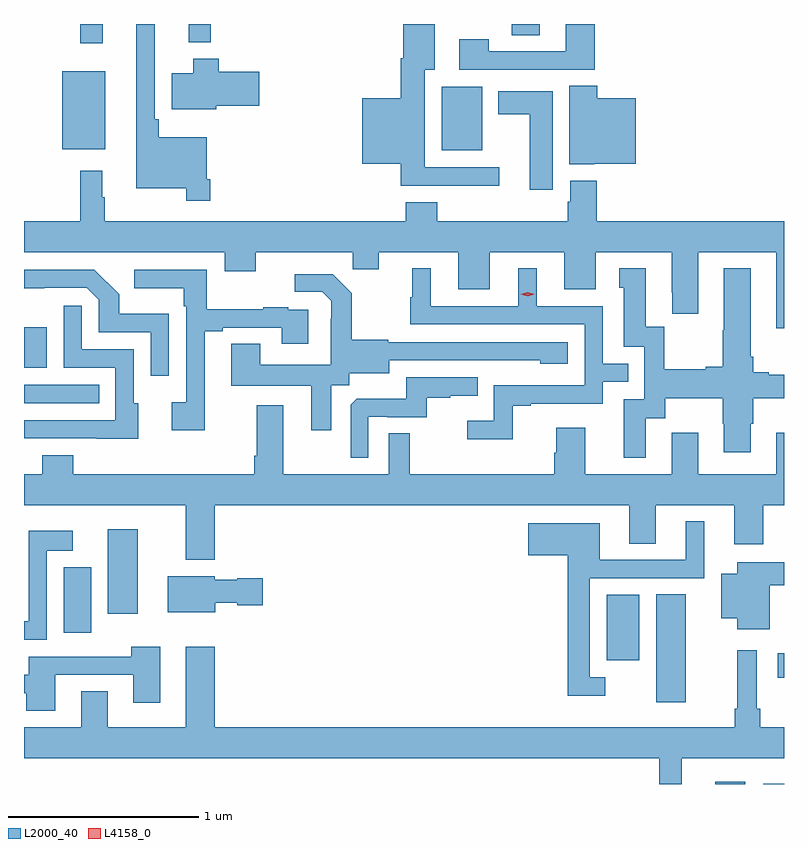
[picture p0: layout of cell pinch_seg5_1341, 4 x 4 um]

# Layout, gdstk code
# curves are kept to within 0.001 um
import gdstk
lib = gdstk.Library(unit=1e-6, precision=1e-09)
def R(c, l, rs):  # rectangles x0, y0, x1, y1
    for r in rs: c.add(gdstk.rectangle(r[:2], r[2:], *l))
def P(c, l, *ps):  # polygons
    for p in ps: c.add(gdstk.Polygon(p, *l))
L2000_40 = (2000, 40)
L4158_0 = (4158, 0)

pinch_seg5_1341 = lib.new_cell('pinch_seg5_1341')
R(pinch_seg5_1341, L2000_40, [(279.116,900.581,279.274,900.592), (279.368,900.581,279.477,900.583), (278.804,901.011,278.959,901.58), (279.444,901.139,279.477,901.269), (278.543,901.232,278.716,901.576), (275.687,901.377,275.83,901.723), (275.918,901.476,276.076,901.921), (275.477,902.586,275.873,902.682), (275.477,902.771,275.596,902.986), (277.676,903.917,277.888,904.252), (275.678,903.923,275.905,904.333), (275.773,904.479,275.891,904.581), (276.344,904.484,276.461,904.581), (278.044,904.522,278.191,904.581)])
P(pinch_seg5_1341, L2000_40, [(278.48,904.581),(278.327,904.581),(278.327,904.437),(277.923,904.437),(277.923,904.501),(277.767,904.501),(277.767,904.341),(278.48,904.341)],
  [(277.978,903.828),(277.585,903.828),(277.585,904.34),(277.639,904.34),(277.639,904.581),(277.472,904.581),(277.472,904.4),(277.46,904.4),(277.46,904.189),(277.256,904.189),(277.256,903.845),(277.46,903.845),(277.46,903.731),(277.978,903.731)],
  [(276.458,903.763),(276.438,903.763),(276.438,903.985),(276.185,903.985),(276.185,904.081),(276.165,904.081),(276.165,904.581),(276.068,904.581),(276.068,903.716),(276.33,903.716),(276.33,903.651),(276.458,903.651)],
  [(276.49,904.151),(276.715,904.151),(276.715,904.329),(276.503,904.329),(276.503,904.399),(276.368,904.399),(276.368,904.321),(276.254,904.321),(276.254,904.133),(276.49,904.133)],
  [(278.478,903.845),(278.698,903.845),(278.698,904.189),(278.495,904.189),(278.495,904.256),(278.348,904.256),(278.348,903.842),(278.478,903.842)],
  [(278.26,904.228),(277.973,904.228),(277.973,904.106),(278.138,904.106),(278.138,903.708),(278.26,903.708)],
  [(279.477,903.544),(278.492,903.544),(278.492,903.757),(278.351,903.757),(278.351,903.645),(278.339,903.645),(278.339,903.544),(277.652,903.544),(277.652,903.643),(277.487,903.643),(277.487,903.544),(275.902,903.544),(275.902,903.668),(275.89,903.668),(275.89,903.808),(275.773,903.808),(275.773,903.544),(275.477,903.544),(275.477,903.38),(276.533,903.38),(276.533,903.281),(276.697,903.281),(276.697,903.38),(277.207,903.38),(277.207,903.29),(277.345,903.29),(277.345,903.38),(277.763,903.38),(277.763,903.186),(277.927,903.186),(277.927,903.38),(278.321,903.38),(278.321,903.186),(278.485,903.186),(278.485,903.38),(278.885,903.38),(278.885,903.169),(278.888,903.169),(278.888,903.057),(279.025,903.057),(279.025,903.38),(279.437,903.38),(279.437,902.979),(279.477,902.979)],
  [(278.749,902.506),(278.851,902.506),(278.851,902.612),(279.154,902.612),(279.154,902.478),(279.161,902.478),(279.161,902.328),(279.301,902.328),(279.301,902.478),(279.314,902.478),(279.314,902.612),(279.477,902.612),(279.477,902.734),(279.397,902.734),(279.397,902.747),(279.314,902.747),(279.314,902.83),(279.301,902.83),(279.301,903.295),(279.161,903.295),(279.161,902.969),(279.154,902.969),(279.154,902.777),(279.065,902.777),(279.065,902.764),(278.847,902.764),(278.847,902.987),(278.749,902.987),(278.749,903.295),(278.609,903.295),(278.609,903.192),(278.633,903.192),(278.633,902.883),(278.742,902.883),(278.742,902.607),(278.633,902.607),(278.633,902.298),(278.749,902.298)],
  [(278.049,902.571),(278.143,902.571),(278.143,902.583),(278.523,902.583),(278.523,902.697),(278.657,902.697),(278.657,902.793),(278.523,902.793),(278.523,903.096),(278.176,903.096),(278.176,903.295),(278.078,903.295),(278.078,903.096),(277.618,903.096),(277.618,903.295),(277.52,903.295),(277.52,903.144),(277.509,903.144),(277.509,903),(278.427,903),(278.427,902.679),(277.95,902.679),(277.95,902.494),(277.809,902.494),(277.809,902.396),(278.049,902.396)],
  [(276.24,903.055),(275.979,903.055),(275.979,903.158),(275.848,903.288),(275.477,903.288),(275.477,903.188),(275.48,903.191),(275.808,903.192),(275.871,903.129),(275.871,902.958),(276.144,902.958),(276.144,902.73),(276.24,902.73)],
  [(276.427,902.964),(276.523,902.964),(276.523,902.982),(276.833,902.982),(276.833,902.898),(276.973,902.898),(276.973,903.078),(276.869,903.078),(276.869,903.091),(276.737,903.091),(276.737,903.08),(276.439,903.08),(276.439,903.288),(276.057,903.288),(276.057,903.191),(276.318,903.191),(276.318,903.095),(276.33,903.095),(276.33,902.59),(276.255,902.59),(276.255,902.442),(276.427,902.442)],
  [(277.093,902.68),(277.188,902.68),(277.188,902.744),(277.399,902.744),(277.399,902.811),(278.193,902.81),(278.193,902.792),(278.338,902.792),(278.338,902.907),(277.395,902.907),(277.395,902.92),(277.203,902.92),(277.203,903.165),(277.103,903.265),(276.903,903.265),(276.903,903.171),(277.047,903.171),(277.094,903.124),(277.094,903.029),(277.092,903.029),(277.092,902.788),(276.721,902.788),(276.721,902.897),(276.569,902.897),(276.569,902.678),(276.989,902.678),(276.989,902.442),(277.093,902.442)],
  [(276.079,902.586),(276.054,902.586),(276.054,902.868),(275.781,902.868),(275.781,903.097),(275.685,903.097),(275.685,902.772),(275.958,902.772),(275.958,902.496),(275.477,902.496),(275.477,902.4),(275.861,902.4),(275.861,902.399),(276.079,902.399)],
  [(277.29,902.514),(277.39,902.514),(277.39,902.511),(277.598,902.511),(277.598,902.613),(277.721,902.613),(277.721,902.624),(277.865,902.624),(277.865,902.721),(277.488,902.721),(277.488,902.609),(277.229,902.609),(277.197,902.577),(277.197,902.297),(277.29,902.297)],
  [(276.329,901.76),(276.482,901.76),(276.482,902.048),(278.663,902.048),(278.663,901.846),(278.803,901.846),(278.803,902.048),(279.215,902.048),(279.215,901.842),(279.368,901.842),(279.368,902.048),(279.477,902.048),(279.477,902.431),(279.437,902.431),(279.437,902.212),(279.025,902.212),(279.025,902.431),(278.885,902.431),(278.885,902.212),(278.431,902.212),(278.431,902.455),(278.279,902.455),(278.279,902.325),(278.267,902.325),(278.267,902.212),(277.507,902.212),(277.507,902.426),(277.398,902.426),(277.398,902.212),(276.841,902.212),(276.841,902.575),(276.701,902.575),(276.701,902.308),(276.689,902.308),(276.689,902.212),(275.737,902.212),(275.737,902.311),(275.573,902.311),(275.573,902.212),(275.477,902.212),(275.477,902.048),(276.329,902.048)],
  [(278.536,901.143),(278.454,901.143),(278.454,901.665),(279.058,901.665),(279.058,901.963),(278.96,901.963),(278.96,901.761),(278.506,901.761),(278.506,901.954),(278.13,901.954),(278.13,901.784),(278.338,901.784),(278.338,901.046),(278.536,901.046)],
  [(275.598,901.808),(275.734,901.808),(275.734,901.915),(275.502,901.915),(275.502,901.437),(275.477,901.437),(275.477,901.341),(275.598,901.341)],
  [(279.401,901.626),(279.477,901.626),(279.477,901.747),(279.23,901.747),(279.23,901.687),(279.146,901.687),(279.146,901.454),(279.23,901.454),(279.23,901.395),(279.401,901.395)],
  [(276.484,901.535),(276.6,901.535),(276.6,901.523),(276.733,901.523),(276.733,901.665),(276.6,901.665),(276.6,901.657),(276.48,901.657),(276.48,901.675),(276.233,901.675),(276.233,901.484),(276.484,901.484)],
  [(275.641,901.155),(276.053,901.155),(276.053,901.008),(276.193,901.008),(276.193,901.303),(276.041,901.303),(276.041,901.251),(275.501,901.251),(275.501,901.155),(275.477,901.155),(275.477,901.058),(275.489,901.058),(275.489,900.966),(275.641,900.966)],
  [(278.938,900.716),(279.477,900.716),(279.477,900.88),(279.353,900.88),(279.353,900.976),(279.333,900.976),(279.333,901.285),(279.232,901.285),(279.232,900.976),(279.217,900.976),(279.217,900.88),(276.482,900.88),(276.482,901.303),(276.329,901.303),(276.329,900.88),(275.917,900.88),(275.917,901.07),(275.777,901.07),(275.777,900.88),(275.477,900.88),(275.477,900.716),(278.821,900.716),(278.821,900.581),(278.938,900.581)])
P(pinch_seg5_1341, L4158_0, [(278.127,903.149),(278.091,903.159),(278.091,903.159),(278.091,903.159),(278.127,903.169),(278.163,903.159),(278.163,903.159),(278.163,903.159)])

lib.write_gds('pinch_seg5_1341.gds')
